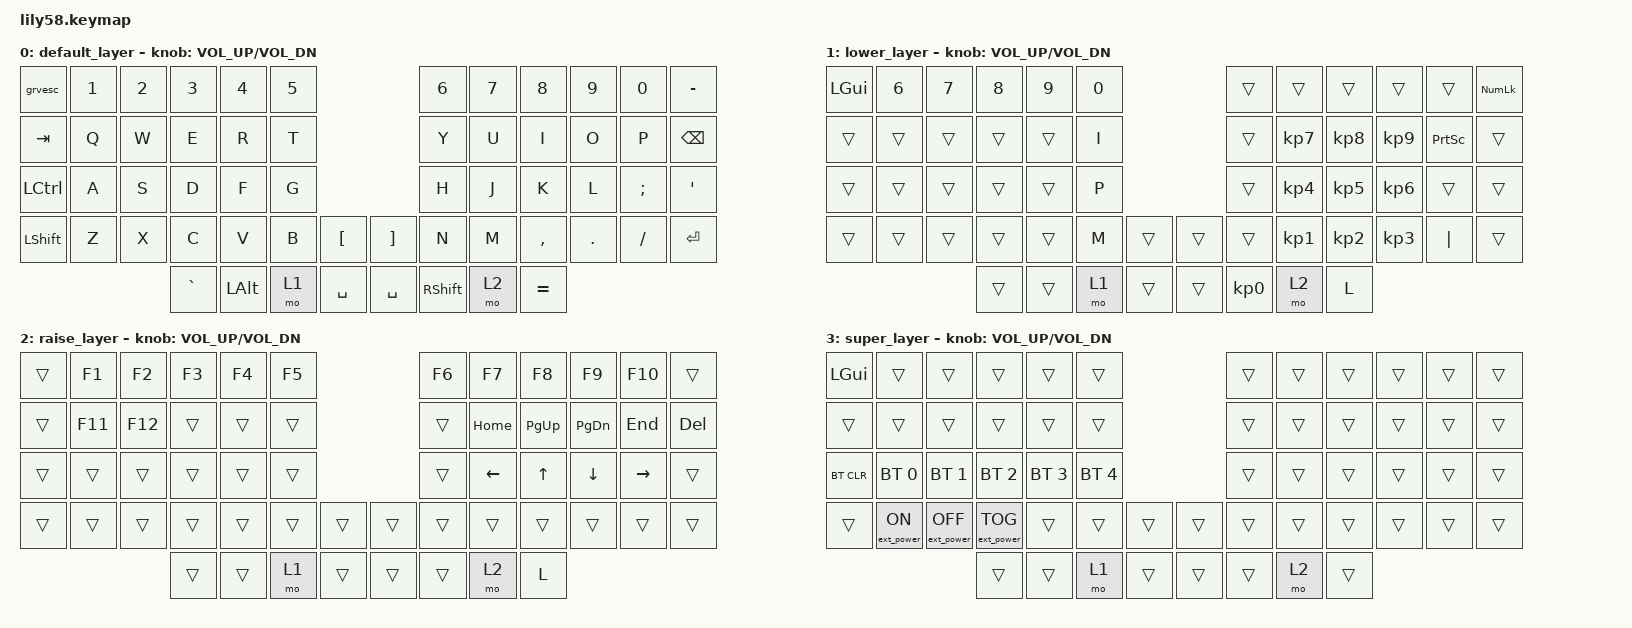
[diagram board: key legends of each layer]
/*
 * Copyright (c) 2020 The ZMK Contributors
 *
 * SPDX-License-Identifier: MIT
 */

#include <behaviors.dtsi>
#include <dt-bindings/zmk/keys.h>
#include <dt-bindings/zmk/bt.h>
#include <dt-bindings/zmk/ext_power.h>
#include <dt-bindings/zmk/rgb.h>

#define DEFAULT 0
#define LOWER 1
#define RAISE 2
#define SUPER 3

/ {

	combos {
        	compatible = "zmk,combos";
        	combo_super {
            		timeout-ms = <50>;
            		key-positions = <52 56>;
            		bindings = <&mo 3>;
        	};
    	};
	
	behaviors {
		grvesc: grave_escape {
			compatible = "zmk,behavior-mod-morph";
			label = "GRAVE_ESCAPE";
			#binding-cells = <0>;
			bindings = <&kp ESC>, <&kp GRAVE>;
			mods = <(MOD_LSFT)>;
		};
	};
    
	keymap {
		compatible = "zmk,keymap";

		default_layer {
// --------------------------------------------------------------------------------------------------------------------------------------------------------------------------
// |  ESC   |     1     |     2     |     3     |     4     |     5     |                           |     6     |     7     |     8     |     9     |     0     |     -     |
// |  TAB   |     Q     |     W     |     E     |     R     |     T     |                           |     Y     |     U     |     I     |     O     |     P     |    BS     |
// |  CTRL  |     A     |     S     |     D     |     F     |     G     |                           |     H     |     J     |     K     |     L     |     ;     |     '     |
// | LSHIFT |     Z     |     X     |     C     |     V     |     B     |    "["    |   |    "]"    |     N     |     M     |     ,     |     .     |     /     |   ENTER   |
//                                  |     `     |   LALT    |   LOWER   |   SPACE   |   |   SPACE   |  RSHIFT   |   RAISE   |     =     |
			bindings = <
&grvesc     &kp N1      &kp N2      &kp N3      &kp N4      &kp N5                                  &kp N6      &kp N7      &kp N8      &kp N9      &kp N0      &kp MINUS
&kp TAB     &kp Q       &kp W       &kp E       &kp R       &kp T                                   &kp Y       &kp U       &kp I       &kp O       &kp P       &kp BSPC
&kp LCTRL   &kp A       &kp S       &kp D       &kp F       &kp G                                   &kp H       &kp J       &kp K       &kp L       &kp SEMI    &kp SQT
&kp LSHFT   &kp Z       &kp X       &kp C       &kp V       &kp B       &kp LBKT        &kp RBKT    &kp N       &kp M       &kp COMMA   &kp DOT     &kp FSLH    &kp RET
                                    &kp GRAVE   &kp LALT    &mo 1       &kp SPACE       &kp SPACE   &kp RSHFT   &mo 2       &kp EQUAL
			>;

			sensor-bindings = <&inc_dec_kp C_VOL_UP C_VOL_DN>;
		};

		lower_layer {
// --------------------------------------------------------------------------------------------------------------------------------------------------------------------------
// |  LGUI  |     6     |     7     |     8     |     9     |     10    |                           |           |           |           |           |           |    NUM    |
// |        |           |           |           |           |     I     |                           |           |     7     |     8     |     9     |   PSCRN   |           |
// |        |           |           |           |           |     P     |                           |           |     4     |     5     |     6     |           |           |
// |        |           |           |           |           |     M     |           |   |           |           |     1     |     2     |     3     |     |     |           |
//                                  |           |           |   LOWER   |           |   |           |     0     |   RAISE   |     L     |
			bindings = <
&kp LGUI    &kp N6   	&kp N7      &kp N8      &kp N9      &kp N0                                  &trans      &trans      &trans      &trans      &trans      &kp KP_NUM
&trans      &trans      &trans      &trans      &trans      &kp I                                   &trans      &kp KP_N7   &kp KP_N8   &kp KP_N9   &kp PSCRN   &trans
&trans      &trans      &trans      &trans      &trans      &kp P                                   &trans      &kp KP_N4   &kp KP_N5   &kp KP_N6   &trans      &trans
&trans      &trans      &trans      &trans      &trans      &kp M       &trans          &trans      &trans      &kp KP_N1   &kp KP_N2   &kp KP_N3   &kp PIPE    &trans
                                    &trans      &trans      &mo 1       &trans          &trans      &kp KP_N0   &mo 2       &kp L
			>;

			sensor-bindings = <&inc_dec_kp C_VOL_UP C_VOL_DN>;
		};

		raise_layer {
// --------------------------------------------------------------------------------------------------------------------------------------------------------------------------
// |        |    F1     |    F2     |    F3     |    F4     |    F5     |                           |    F6     |    F7     |    F8     |    F9     |    F10    |           |
// |        |    F11    |    F12    |           |           |           |                           |           |   HOME    |   PGUP    |   PGDN    |    END    |    DEL    |
// |        |           |           |           |           |           |                           |           |    <-     |     ^     |     v     |    ->     |           |
// |        |           |           |           |           |           |           |   |           |           |           |           |           |           |           |
//                                  |           |           |   LOWER   |           |   |           |           |   RAISE   |     L     |
			bindings = <
&trans      &kp F1      &kp F2      &kp F3      &kp F4      &kp F5                                  &kp F6      &kp F7      &kp F8      &kp F9      &kp F10     &trans
&trans      &kp F11     &kp F12     &trans      &trans      &trans                                  &trans      &kp HOME    &kp PG_UP   &kp PG_DN   &kp END     &kp DEL
&trans      &trans      &trans      &trans      &trans      &trans                                  &trans      &kp LEFT    &kp UP      &kp DOWN    &kp RIGHT   &trans
&trans      &trans      &trans      &trans      &trans      &trans      &trans          &trans      &trans 	&trans	    &trans      &trans      &trans      &trans
                                    &trans      &trans      &mo 1       &trans          &trans      &trans      &mo 2       &kp L
			>;

			sensor-bindings = <&inc_dec_kp C_VOL_UP C_VOL_DN>;
		};
		
		super_layer {
// ----------------------------------------------------------------------------------------------------------------------------------------------------------------------------------------------------------------------------------------------------------------------
// |   LGUI     |                   |                   |                   |                   |                   |                           |                   |                   |                   |                   |                   |                   |
// |            |                   |                   |                   |                   |                   |                           |                   |                   |                   |                   |                   |                   |
// |   BTCLR    |        BT1        |        BT2        |        BT3        |        BT4        |        BT5        |                           |                   |                   |                   |                   |                   |                   |
// |            |       EP_ON       |       EP_OFF      |      EP_TOG       |                   |                   |           |   |           |                   |                   |                   |                   |                   |                   |
//                                                      |                   |                   |       LOWER       |           |   |           |                   |       RAISE       |                   |
			bindings = <
&kp LGUI        &trans              &trans              &trans              &trans              &trans                                          &trans              &trans              &trans              &trans              &trans              &trans
&trans          &trans              &trans 	        &trans              &trans              &trans                                          &trans              &trans              &trans              &trans              &trans              &trans
&bt BT_CLR      &bt BT_SEL 0        &bt BT_SEL 1        &bt BT_SEL 2        &bt BT_SEL 3        &bt BT_SEL 4                                    &trans              &trans              &trans              &trans              &trans              &trans
&trans          &ext_power EP_ON    &ext_power EP_OFF   &ext_power EP_TOG   &trans              &trans              &trans          &trans      &trans              &trans              &trans              &trans              &trans              &trans
                                                        &trans              &trans              &mo 1               &trans          &trans      &trans              &mo 2               &trans
			>;

			sensor-bindings = <&inc_dec_kp C_VOL_UP C_VOL_DN>;
		};
	};
};
